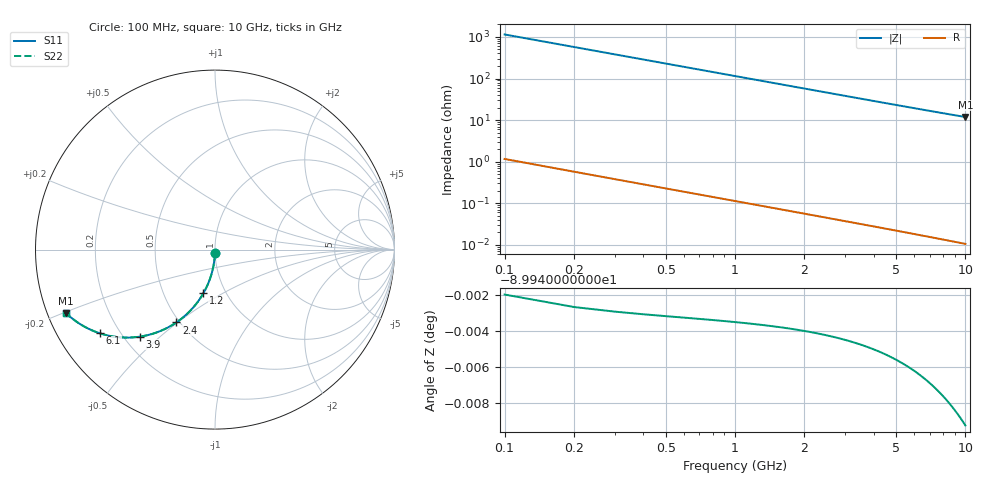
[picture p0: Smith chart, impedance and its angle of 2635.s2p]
# Hz S RI R 50.00
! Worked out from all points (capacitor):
!   100 points, 100 MHz to 10 GHz, reference 50 ohm
!   read as one part in shunt: C = 1.39 pF near 100 MHz
!   lowest |Z| = 11.9 ohm at 10 GHz (marker M1)
!   S11 on the Smith chart (normalised r, x): 100 MHz: 1.00, -0.04; 1.2 GHz: 0.79, -0.41; 2.4 GHz: 0.48, -0.49; 3.9 GHz: 0.26, -0.43; 6.1 GHz: 0.13, -0.32; 10 GHz: 0.05, -0.20
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1e8  -0.000452 -0.0216  0.9995 -0.022  0.9995 -0.022  -0.000452 -0.0216
2e8  -0.00189 -0.0431  0.998 -0.0439  0.998 -0.0439  -0.00189 -0.0431
3e8  -0.00427 -0.0645  0.9956 -0.0657  0.9956 -0.0657  -0.00427 -0.0645
4e8  -0.00758 -0.0857  0.9923 -0.0873  0.9923 -0.0873  -0.00758 -0.0857
5e8  -0.0118 -0.1066  0.9881 -0.1087  0.9881 -0.1087  -0.0118 -0.1066
6e8  -0.0169 -0.1273  0.983 -0.1297  0.983 -0.1297  -0.0169 -0.1273
7e8  -0.0228 -0.1476  0.9771 -0.1504  0.9771 -0.1504  -0.0228 -0.1476
9e8  -0.0372 -0.187  0.9627 -0.1906  0.9627 -0.1906  -0.0372 -0.187
1.2e9  -0.0642 -0.2422  0.9357 -0.2471  0.9357 -0.2471  -0.0642 -0.2422
1.5e9  -0.0967 -0.2922  0.9031 -0.2982  0.9031 -0.2982  -0.0967 -0.2922
1.8e9  -0.1336 -0.3361  0.8663 -0.3434  0.8663 -0.3434  -0.1336 -0.3361
2.1e9  -0.1735 -0.3739  0.8264 -0.3825  0.8264 -0.3825  -0.1735 -0.3739
2.4e9  -0.2151 -0.4056  0.7847 -0.4153  0.7847 -0.4153  -0.2151 -0.4056
2.9e9  -0.2858 -0.4454  0.714 -0.4573  0.714 -0.4573  -0.2858 -0.4454
3.4e9  -0.355 -0.4711  0.6448 -0.485  0.6448 -0.485  -0.355 -0.4711
3.9e9  -0.4201 -0.4851  0.5797 -0.5011  0.5797 -0.5011  -0.4201 -0.4851
5.1e9  -0.5538 -0.4861  0.4459 -0.5071  0.4459 -0.5071  -0.5538 -0.4861
6.1e9  -0.6402 -0.4667  0.3594 -0.492  0.3594 -0.492  -0.6402 -0.4667
6.7e9  -0.6825 -0.451  0.317 -0.4789  0.317 -0.4789  -0.6825 -0.451
7.5e9  -0.7297 -0.4278  0.2697 -0.4592  0.2697 -0.4592  -0.7297 -0.4278
8.4e9  -0.7725 -0.4008  0.2268 -0.4362  0.2268 -0.4362  -0.7725 -0.4008
1e10  -0.8287 -0.3545  0.1702 -0.397  0.1702 -0.397  -0.8287 -0.3545
